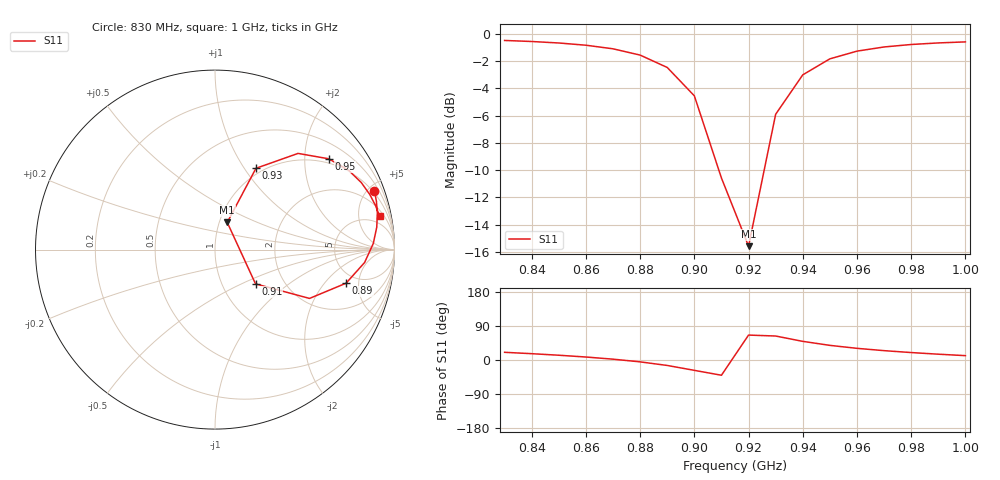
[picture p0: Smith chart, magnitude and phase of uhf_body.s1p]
# Hz S RI R 50
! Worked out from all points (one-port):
!   18 points, 830 MHz to 1 GHz, reference 50 ohm
!   lowest |S11| = -15.6 dB at 920 MHz (marker M1), VSWR 1.40, Z = 54.6 + j17 ohm
!   |S11| at or under -10 dB: 909 MHz to 925.8 MHz (16.73 MHz wide, 1.82 % of centre)
!   S11 on the Smith chart (normalised r, x): 830 MHz: 0.85, +5.45; 890 MHz: 4.00, -3.47; 910 MHz: 1.44, -0.60; 930 MHz: 0.93, +1.13; 950 MHz: 0.88, +2.59; 1 GHz: 2.98, +8.94
8.3e8  0.8882 0.3287
8.4e8  0.8994 0.2691
8.5e8  0.9048 0.2019
8.6e8  0.9011 0.1245
8.7e8  0.8818 0.034
8.8e8  0.8337 -0.0718
8.9e8  0.7299 -0.1874
9e8  0.5267 -0.272
9.1e8  0.2258 -0.191
9.2e8  0.0682 0.1515
9.3e8  0.2282 0.4529
9.4e8  0.4626 0.5359
9.5e8  0.6334 0.506
9.6e8  0.7433 0.4428
9.7e8  0.8145 0.3741
9.8e8  0.862 0.3076
9.9e8  0.8945 0.2452
1e9  0.9169 0.1866
